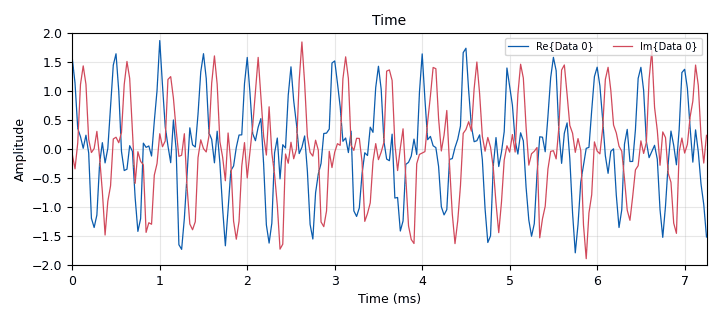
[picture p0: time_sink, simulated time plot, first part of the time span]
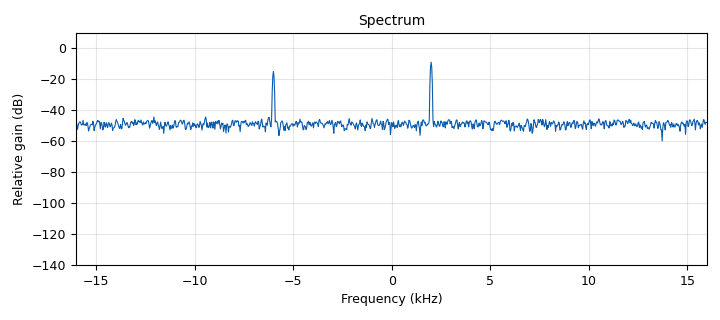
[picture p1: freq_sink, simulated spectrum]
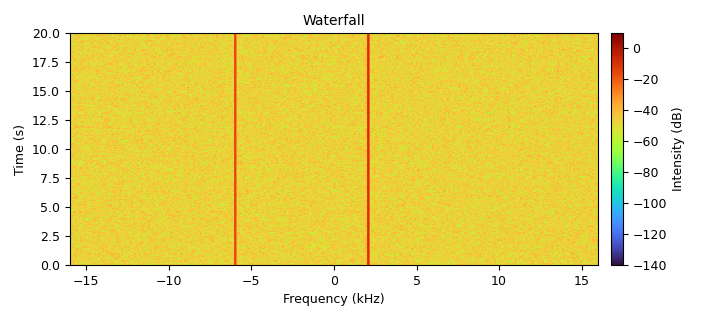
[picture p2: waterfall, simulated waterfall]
options:
  parameters:
    id: scopes
    title: Scope demo
    generate_options: qt_gui
    output_language: python
  states: {}

blocks:
- name: samp_rate
  id: variable
  parameters:
    value: '32000'
  states: {}
- name: sig
  id: analog_sig_source_x
  parameters:
    amp: '1'
    freq: '2000'
    offset: '0'
    phase: '0'
    samp_rate: samp_rate
    type: complex
    waveform: analog.GR_COS_WAVE
  states: {}
- name: chirp
  id: analog_sig_source_x
  parameters:
    amp: '0.5'
    freq: '-6000'
    offset: '0'
    phase: '0'
    samp_rate: samp_rate
    type: complex
    waveform: analog.GR_COS_WAVE
  states: {}
- name: noise
  id: analog_noise_source_x
  parameters:
    amp: '0.3'
    noise_type: analog.GR_GAUSSIAN
    seed: '0'
    type: complex
  states: {}
- name: add
  id: blocks_add_xx
  parameters:
    num_inputs: '3'
    type: complex
  states: {}
- name: thr
  id: blocks_throttle2
  parameters:
    samples_per_second: samp_rate
    type: complex
  states: {}
- name: time_sink
  id: qtgui_time_sink_x
  parameters:
    type: complex
    name: '''Time'''
    size: '512'
    srate: samp_rate
    ymin: '-2'
    ymax: '2'
    grid: 'True'
  states: {}
- name: freq_sink
  id: qtgui_freq_sink_x
  parameters:
    type: complex
    name: '''Spectrum'''
    fftsize: '1024'
    bw: samp_rate
    fc: '0'
    grid: 'True'
    average: '0.2'
  states: {}
- name: waterfall
  id: qtgui_waterfall_sink_x
  parameters:
    type: complex
    name: '''Waterfall'''
    fftsize: '1024'
    bw: samp_rate
    fc: '0'
  states: {}

connections:
- [sig, '0', add, '0']
- [chirp, '0', add, '1']
- [noise, '0', add, '2']
- [add, '0', thr, '0']
- [thr, '0', time_sink, '0']
- [thr, '0', freq_sink, '0']
- [thr, '0', waterfall, '0']

metadata:
  file_format: 1
  grc_version: '3.10'
